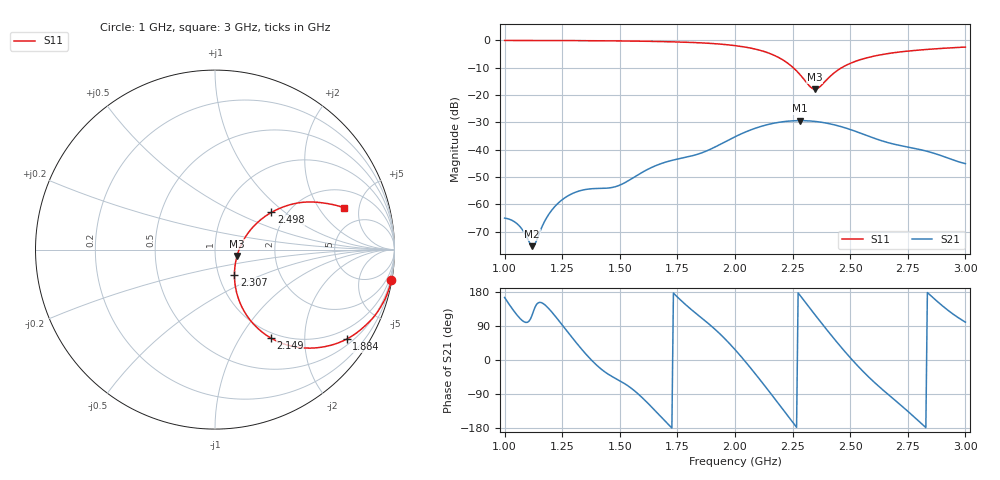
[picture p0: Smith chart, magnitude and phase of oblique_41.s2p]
! TOUCHSTONE file generated by CST MICROWAVE STUDIO
! Date and time: Tue Mar 18 00:01:03 2025
! Project name: oblique.cst
! Parameters = {Tilt=30; Fracture=1; B=10; D=160; F=25; Feed=2.85625; L=100; M=30; R=0.384908; S=1; Theta=180; length=57.125; wave=114.25}
! Header version: 2024
! Port assignment regex: !\s*Touchstone port\s*([0-9]+)\s*=\s*(CST MWS port|CST DES external port|CST DES block port)\s*(.+)\s* \(\"(.*)\"\)(\s*mode\s*([0-9]+))?.*
! Touchstone port assignment:
! Touchstone port 1 = CST MWS port 1 ("")
! Touchstone port 2 = CST MWS port 2 ("")
# GHz S DB R 50
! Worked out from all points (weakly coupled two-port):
!   304 points, 1 GHz to 3 GHz, reference 50 ohm
!   highest |S21| = -29.36 dB at 2.281 GHz (marker M1); lowest = -75.3 dB at 1.119 GHz (marker M2)
!   lowest |S11| = -17.9 dB at 2.347 GHz (marker M3), VSWR 1.29, Z = 63.8 - j4.63 ohm
!   |S11| at or under -10 dB: 2.253 GHz to 2.463 GHz (210.1 MHz wide, 8.91 % of centre)
!   S12 and S22 are empty: the file has one direction only
!   S11 on the Smith chart (normalised r, x): 1 GHz: 0, -12; 1.884 GHz: 0.67, -3.11; 2.149 GHz: 0.92, -1.37; 2.307 GHz: 1.19, -0.34; 2.498 GHz: 1.67, +0.81; 3 GHz: 3.23, +3.49
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1  -0.02 -9.8  -65.04 165.0  -200.00 0.0  -200.00 0.0
1.05941  -0.03 -10.6  -67.52 114.6  -200.00 0.0  -200.00 0.0
1.11881  -0.03 -11.5  -75.31 117.6  -200.00 0.0  -200.00 0.0
1.13201  -0.04 -11.7  -74.51 139.4  -200.00 0.0  -200.00 0.0
1.17162  -0.04 -12.3  -66.56 147.1  -200.00 0.0  -200.00 0.0
1.21782  -0.06 -13.1  -60.82 117.1  -200.00 0.0  -200.00 0.0
1.27063  -0.07 -14.0  -57.11 76.5  -200.00 0.0  -200.00 0.0
1.33663  -0.09 -15.2  -54.82 26.9  -200.00 0.0  -200.00 0.0
1.48845  -0.19 -18.7  -53.35 -51.0  -200.00 0.0  -200.00 0.0
1.66667  -0.40 -24.1  -45.48 -142.2  -200.00 0.0  -200.00 0.0
1.88449  -1.04 -34.3  -40.18 96.2  -200.00 0.0  -200.00 0.0
2.0033  -1.95 -43.0  -35.14 25.2  -200.00 0.0  -200.00 0.0
2.14851  -4.71 -57.8  -30.67 -83.2  -200.00 0.0  -200.00 0.0
2.22112  -7.88 -64.3  -29.63 -140.8  -200.00 0.0  -200.00 0.0
2.28053  -12.37 -61.6  -29.36 171.9  -200.00 0.0  -200.00 0.0
2.30693  -15.06 -52.1  -29.40 150.9  -200.00 0.0  -200.00 0.0
2.33993  -17.76 -23.8  -29.59 125.0  -200.00 0.0  -200.00 0.0
2.34653  -17.87 -16.2  -29.65 119.8  -200.00 0.0  -200.00 0.0
2.43894  -11.34 32.1  -31.07 49.6  -200.00 0.0  -200.00 0.0
2.49835  -8.47 33.4  -32.56 7.3  -200.00 0.0  -200.00 0.0
2.66997  -4.74 27.3  -37.55 -93.6  -200.00 0.0  -200.00 0.0
3  -2.44 17.9  -45.11 99.9  -200.00 0.0  -200.00 0.0
